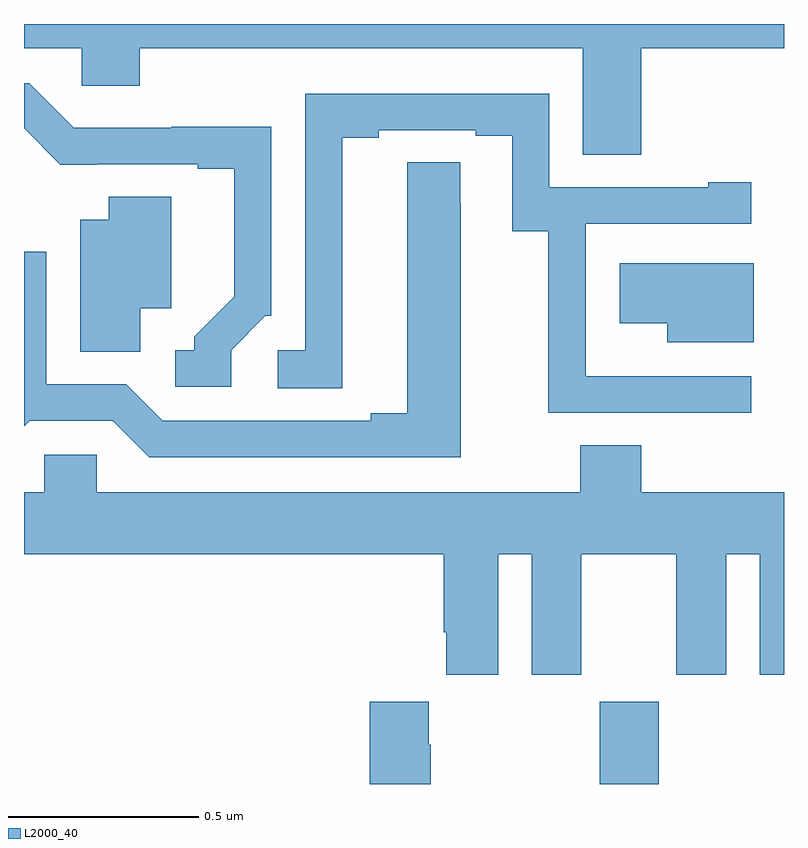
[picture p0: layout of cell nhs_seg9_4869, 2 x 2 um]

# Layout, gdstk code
import gdstk
lib = gdstk.Library(unit=1e-6, precision=1e-09)
def R(c, l, rs):  # rectangles x0, y0, x1, y1
    for r in rs: c.add(gdstk.rectangle(r[:2], r[2:], *l))
def P(c, l, *ps):  # polygons
    for p in ps: c.add(gdstk.Polygon(p, *l))
L2000_40 = (2000, 40)

nhs_seg9_4869 = lib.new_cell('nhs_seg9_4869')
R(nhs_seg9_4869, L2000_40, [(173.515,1178.5,173.67,1178.716)])
P(nhs_seg9_4869, L2000_40, [(173.624,1180.436),(174,1180.436),(174,1180.5),(172,1180.5),(172,1180.436),(172.152,1180.436),(172.152,1180.338),(172.304,1180.338),(172.304,1180.436),(173.471,1180.436),(173.471,1180.156),(173.624,1180.156)],
  [(172.545,1179.642),(172.635,1179.732),(172.65,1179.732),(172.65,1180.229),(172.387,1180.229),(172.387,1180.227),(172.131,1180.227),(172.014,1180.344),(172,1180.344),(172,1180.226),(172.096,1180.13),(172.192,1180.13),(172.192,1180.131),(172.457,1180.131),(172.457,1180.119),(172.553,1180.119),(172.553,1179.782),(172.448,1179.677),(172.448,1179.642),(172.398,1179.642),(172.398,1179.546),(172.545,1179.546)],
  [(173.914,1179.573),(173.48,1179.573),(173.48,1179.574),(173.478,1179.574),(173.478,1179.975),(173.914,1179.975),(173.914,1180.084),(173.801,1180.084),(173.801,1180.071),(173.382,1180.071),(173.382,1180.317),(172.74,1180.317),(172.74,1179.642),(172.668,1179.642),(172.668,1179.541),(172.837,1179.541),(172.837,1180.201),(172.933,1180.201),(172.933,1180.221),(173.189,1180.221),(173.189,1180.206),(173.285,1180.206),(173.285,1179.955),(173.38,1179.955),(173.38,1179.477),(173.914,1179.477)],
  [(173.149,1180.028),(173.148,1180.028),(173.148,1180.136),(173.009,1180.136),(173.009,1179.476),(172.913,1179.476),(172.913,1179.456),(172.365,1179.456),(172.269,1179.552),(172.059,1179.552),(172.059,1179.901),(172,1179.901),(172,1179.441),(172.015,1179.456),(172.233,1179.456),(172.329,1179.36),(173.149,1179.36)],
  [(172.306,1179.752),(172.387,1179.752),(172.387,1180.046),(172.223,1180.046),(172.223,1179.985),(172.148,1179.985),(172.148,1179.637),(172.306,1179.637)],
  [(173.92,1179.871),(173.568,1179.871),(173.568,1179.713),(173.693,1179.713),(173.693,1179.662),(173.92,1179.662)],
  [(173.248,1179.104),(173.336,1179.104),(173.336,1178.787),(173.467,1178.787),(173.467,1179.104),(173.717,1179.104),(173.717,1178.787),(173.848,1178.787),(173.848,1179.104),(173.936,1179.104),(173.936,1178.787),(174,1178.787),(174,1179.268),(173.624,1179.268),(173.624,1179.392),(173.464,1179.392),(173.464,1179.268),(172.191,1179.268),(172.191,1179.366),(172.053,1179.366),(172.053,1179.268),(172,1179.268),(172,1179.104),(173.105,1179.104),(173.105,1178.899),(173.111,1178.899),(173.111,1178.787),(173.248,1178.787)],
  [(173.07,1178.603),(173.065,1178.603),(173.065,1178.716),(172.91,1178.716),(172.91,1178.5),(173.07,1178.5)])

lib.write_gds('nhs_seg9_4869.gds')
